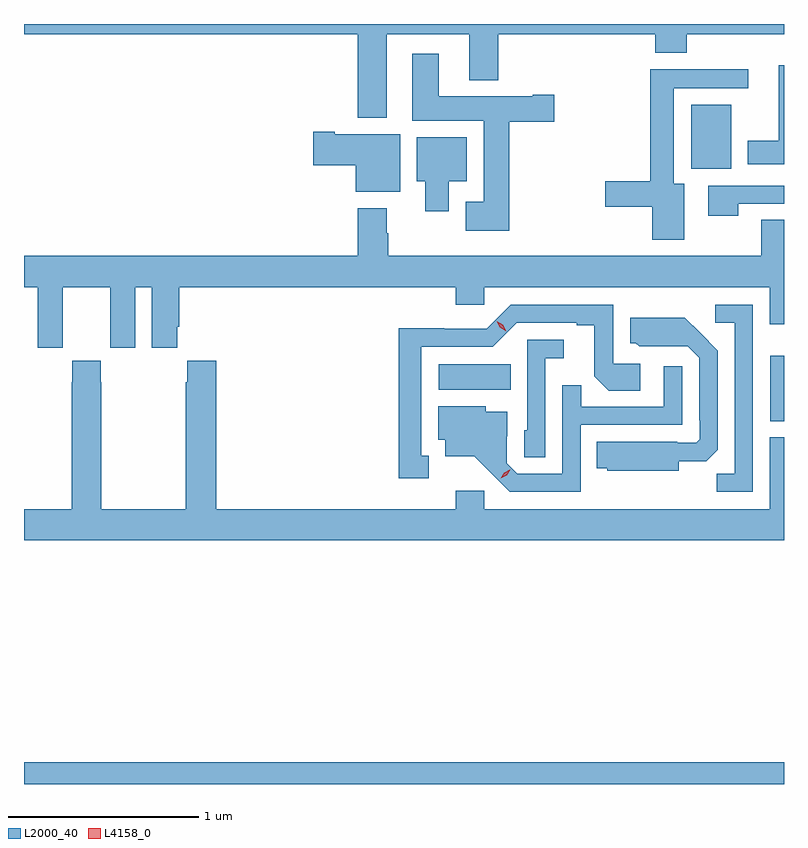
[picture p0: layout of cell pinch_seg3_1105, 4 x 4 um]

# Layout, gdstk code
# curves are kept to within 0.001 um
import gdstk
lib = gdstk.Library(unit=1e-6, precision=1e-09)
def R(c, l, rs):  # rectangles x0, y0, x1, y1
    for r in rs: c.add(gdstk.rectangle(r[:2], r[2:], *l))
def P(c, l, *ps):  # polygons
    for p in ps: c.add(gdstk.Polygon(p, *l))
L2000_40 = (2000, 40)
L4158_0 = (4158, 0)

pinch_seg3_1105 = lib.new_cell('pinch_seg3_1105')
R(pinch_seg3_1105, L2000_40, [(314.791,702.297,318.791,702.412), (318.719,704.207,318.791,704.551), (316.974,704.372,317.354,704.506), (318.302,705.536,318.514,705.871)])
P(pinch_seg3_1105, L2000_40, [(316.699,706.244),(317.135,706.244),(317.135,706.001),(317.288,706.001),(317.288,706.244),(318.113,706.244),(318.113,706.145),(318.278,706.145),(318.278,706.244),(318.791,706.244),(318.791,706.297),(314.791,706.297),(314.791,706.244),(316.547,706.244),(316.547,705.803),(316.699,705.803)],
  [(317.345,705.782),(317.581,705.782),(317.581,705.924),(317.468,705.924),(317.468,705.916),(316.975,705.916),(316.975,706.141),(316.835,706.141),(316.835,705.788),(317.21,705.788),(317.21,705.361),(317.115,705.361),(317.115,705.209),(317.345,705.209)],
  [(318.791,706.081),(318.764,706.081),(318.764,705.682),(318.599,705.682),(318.599,705.56),(318.791,705.56)],
  [(318.265,705.457),(318.211,705.457),(318.211,705.96),(318.604,705.96),(318.604,706.058),(318.086,706.058),(318.086,705.47),(317.85,705.47),(317.85,705.335),(318.098,705.335),(318.098,705.162),(318.265,705.162)],
  [(316.771,705.718),(316.426,705.718),(316.426,705.731),(316.314,705.731),(316.314,705.553),(316.538,705.553),(316.538,705.413),(316.771,705.413)],
  [(317.026,705.47),(317.122,705.47),(317.122,705.7),(316.859,705.7),(316.859,705.47),(316.904,705.47),(316.904,705.312),(317.026,705.312)],
  [(318.549,705.351),(318.791,705.351),(318.791,705.447),(318.393,705.447),(318.393,705.288),(318.549,705.288)],
  [(314.791,704.912),(314.864,704.912),(314.864,704.592),(314.994,704.592),(314.994,704.704),(314.995,704.704),(314.995,704.912),(315.245,704.912),(315.245,704.704),(315.246,704.704),(315.246,704.592),(315.376,704.592),(315.376,704.912),(315.464,704.912),(315.464,704.592),(315.598,704.592),(315.598,704.704),(315.608,704.704),(315.608,704.912),(317.063,704.912),(317.063,704.819),(317.214,704.819),(317.214,704.912),(318.716,704.912),(318.716,704.718),(318.791,704.718),(318.791,705.266),(318.67,705.266),(318.67,705.076),(316.707,705.076),(316.707,705.197),(316.699,705.197),(316.699,705.328),(316.547,705.328),(316.547,705.076),(314.791,705.076)],
  [(316.921,704.025),(316.882,704.025),(316.882,704.598),(317.259,704.598),(317.385,704.724),(317.699,704.724),(317.699,704.712),(317.793,704.712),(317.793,704.444),(317.869,704.368),(318.034,704.368),(318.034,704.508),(317.892,704.508),(317.892,704.82),(317.352,704.82),(317.226,704.694),(317.004,704.694),(317.004,704.696),(316.764,704.696),(316.764,703.905),(316.921,703.905)],
  [(318.627,704.82),(318.429,704.82),(318.429,704.724),(318.531,704.724),(318.531,703.931),(318.436,703.931),(318.436,703.836),(318.627,703.836)],
  [(318.238,703.997),(318.382,703.997),(318.441,704.056),(318.441,704.578),(318.269,704.752),(317.981,704.752),(317.981,704.616),(318.012,704.616),(318.028,704.6),(318.285,704.601),(318.345,704.541),(318.345,704.212),(318.348,704.212),(318.348,704.112),(318.33,704.094),(318.23,704.094),(318.23,704.098),(317.806,704.098),(317.806,703.958),(317.862,703.958),(317.862,703.946),(318.238,703.946)],
  [(317.535,704.537),(317.632,704.537),(317.632,704.634),(317.439,704.634),(317.439,704.16),(317.424,704.16),(317.424,704.017),(317.535,704.017)],
  [(318.791,704.122),(318.716,704.122),(318.716,703.744),(317.214,703.744),(317.214,703.84),(317.063,703.84),(317.063,703.744),(315.803,703.744),(315.803,704.524),(315.649,704.524),(315.649,704.411),(315.643,704.411),(315.643,703.744),(315.198,703.744),(315.198,704.411),(315.195,704.411),(315.195,704.524),(315.045,704.524),(315.045,704.411),(315.043,704.411),(315.043,703.744),(314.791,703.744),(314.791,703.58),(318.791,703.58)],
  [(317.721,704.187),(318.255,704.187),(318.255,704.497),(318.159,704.497),(318.159,704.283),(317.723,704.283),(317.723,704.396),(317.625,704.396),(317.625,703.929),(317.388,703.929),(317.331,703.986),(317.331,704.128),(317.335,704.128),(317.335,704.257),(317.22,704.257),(317.22,704.284),(316.97,704.284),(316.97,704.108),(317.009,704.108),(317.009,704.021),(317.161,704.021),(317.348,703.836),(317.721,703.836)])
P(pinch_seg3_1105, L4158_0, [(317.301,703.906),(317.301,703.907),(317.318,703.936),(317.348,703.951),(317.349,703.951),(317.349,703.951),(317.332,703.922),(317.301,703.906)],
  [(317.328,704.681),(317.296,704.7),(317.279,704.732),(317.279,704.733),(317.28,704.733),(317.311,704.714),(317.328,704.681),(317.328,704.681)])

lib.write_gds('pinch_seg3_1105.gds')
